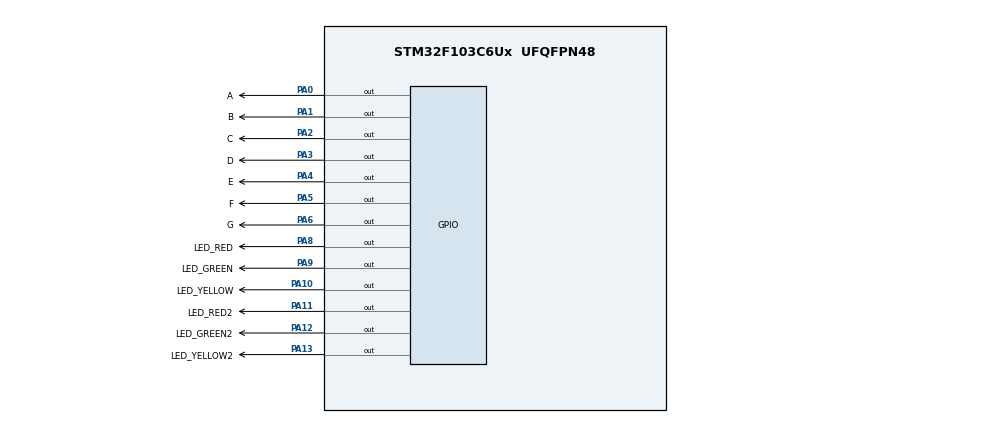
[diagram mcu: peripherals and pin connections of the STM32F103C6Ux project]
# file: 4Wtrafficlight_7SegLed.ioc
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Mcu.Family=STM32F1
Mcu.Name=STM32F103C6Ux
Mcu.Package=UFQFPN48
NVIC.PriorityGroup=NVIC_PRIORITYGROUP_4
PA0-WKUP.GPIO_Label=A
PA0-WKUP.Signal=GPIO_Output
PA1.GPIO_Label=B
PA1.Signal=GPIO_Output
PA10.GPIO_Label=LED_YELLOW
PA10.Signal=GPIO_Output
PA11.GPIO_Label=LED_RED2
PA11.Signal=GPIO_Output
PA12.GPIO_Label=LED_GREEN2
PA12.Signal=GPIO_Output
PA13.GPIO_Label=LED_YELLOW2
PA13.Signal=GPIO_Output
PA2.GPIO_Label=C
PA2.Signal=GPIO_Output
PA3.GPIO_Label=D
PA3.Signal=GPIO_Output
PA4.GPIO_Label=E
PA4.Signal=GPIO_Output
PA5.GPIO_Label=F
PA5.Signal=GPIO_Output
PA6.GPIO_Label=G
PA6.Signal=GPIO_Output
PA8.GPIO_Label=LED_RED
PA8.Signal=GPIO_Output
PA9.GPIO_Label=LED_GREEN
PA9.Signal=GPIO_Output
ProjectManager.HeapSize=0x200
ProjectManager.StackSize=0x400
ProjectManager.TargetToolchain=STM32CubeIDE
RCC.APB1Freq_Value=8000000
RCC.APB2Freq_Value=8000000
VP_SYS_VS_ND.Mode=No_Debug
board=custom

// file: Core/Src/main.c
/* USER CODE BEGIN Header */
/**
  ******************************************************************************
  * @file           : main.c
  * @brief          : Main program body
  ******************************************************************************
  * @attention
  *
  * <h2><center>&copy; Copyright (c) 2022 STMicroelectronics.
  * All rights reserved.</center></h2>
  *
  * This software component is licensed by ST under BSD 3-Clause license,
  * the "License"; You may not use this file except in compliance with the
  * License. You may obtain a copy of the License at:
  *                        opensource.org/licenses/BSD-3-Clause
  *
  ******************************************************************************
  */
/* USER CODE END Header */
#include "main.h"

void SystemClock_Config(void);
static void MX_GPIO_Init(void);

/* USER CODE BEGIN 0 */
void display7SEG(int num){
  	  HAL_GPIO_WritePin(GPIOA, A_Pin|B_Pin|C_Pin|D_Pin|E_Pin|F_Pin|G_Pin, SET);

  	  switch (num) {
  		case 0:
  			HAL_GPIO_WritePin(GPIOA, A_Pin|B_Pin|C_Pin|D_Pin|E_Pin|F_Pin, RESET);
  			break;
  		case 1:
  			HAL_GPIO_WritePin(GPIOA, B_Pin|C_Pin, RESET);
  			break;
  		case 2:
  			HAL_GPIO_WritePin(GPIOA, A_Pin|B_Pin|D_Pin|E_Pin|G_Pin, RESET);
  			break;
  		case 3:
  			HAL_GPIO_WritePin(GPIOA, A_Pin|B_Pin|C_Pin|D_Pin|G_Pin, RESET);
  			break;

  		case 4:
  			HAL_GPIO_WritePin(GPIOA, B_Pin|C_Pin|F_Pin|G_Pin, RESET);
  			break;
  		case 5:
  			HAL_GPIO_WritePin(GPIOA, A_Pin|C_Pin|D_Pin|F_Pin|G_Pin, RESET);
  			break;
  		case 6:
  			HAL_GPIO_WritePin(GPIOA, A_Pin|C_Pin|D_Pin|E_Pin|F_Pin|G_Pin, RESET);
  			break;
  		case 7:
  			HAL_GPIO_WritePin(GPIOA, A_Pin|B_Pin|C_Pin, RESET);
  			break;
  		case 8:
  			HAL_GPIO_WritePin(GPIOA, A_Pin|B_Pin|C_Pin|D_Pin|E_Pin|F_Pin|G_Pin, RESET);
  			break;
  		case 9:
  			HAL_GPIO_WritePin(GPIOA, A_Pin|B_Pin|C_Pin|D_Pin|F_Pin|G_Pin, RESET);
  			break;
  	 }
   }
/* USER CODE END 0 */

int main(void)
{

  /* MCU Configuration--------------------------------------------------------*/

  /* Reset of all peripherals, Initializes the Flash interface and the Systick. */
  HAL_Init();

  /* Configure the system clock */
  SystemClock_Config();

  /* Initialize all configured peripherals */
  MX_GPIO_Init();

  /* Infinite loop */
  /* USER CODE BEGIN WHILE */
  int count = 9;
  while (1)
  {
	  if(count < 0) count = 9;
	  if(count == 9)
	  {
		  HAL_GPIO_WritePin(LED_RED_GPIO_Port, LED_RED_Pin, SET);
		  HAL_GPIO_WritePin(LED_YELLOW_GPIO_Port, LED_YELLOW_Pin, RESET);
		  HAL_GPIO_WritePin(LED_GREEN2_GPIO_Port, LED_GREEN2_Pin, SET);
		  HAL_GPIO_WritePin(LED_RED2_GPIO_Port, LED_RED2_Pin, RESET);
	  }

	  if(count == 6)
	  {
		  HAL_GPIO_TogglePin(LED_GREEN2_GPIO_Port, LED_GREEN2_Pin);
		  HAL_GPIO_TogglePin(LED_YELLOW2_GPIO_Port, LED_YELLOW2_Pin);
	  }

	  if(count == 4)
	  {
		  HAL_GPIO_TogglePin(LED_RED_GPIO_Port, LED_RED_Pin);
		  HAL_GPIO_TogglePin(LED_GREEN_GPIO_Port, LED_GREEN_Pin);
		  HAL_GPIO_TogglePin(LED_YELLOW2_GPIO_Port, LED_YELLOW2_Pin);
		  HAL_GPIO_TogglePin(LED_RED2_GPIO_Port, LED_RED2_Pin);
	  }
	  if(count == 1)
	  {
		  HAL_GPIO_TogglePin(LED_GREEN_GPIO_Port, LED_GREEN_Pin);
		  HAL_GPIO_TogglePin(LED_YELLOW_GPIO_Port, LED_YELLOW_Pin);
	  }

	  display7SEG(count--);

	  HAL_Delay(1000);

    /* USER CODE END WHILE */

  }
}

void SystemClock_Config(void)
{
  RCC_OscInitTypeDef RCC_OscInitStruct = {0};
  RCC_ClkInitTypeDef RCC_ClkInitStruct = {0};

  /** Initializes the RCC Oscillators according to the specified parameters
  * in the RCC_OscInitTypeDef structure.
  */
  RCC_OscInitStruct.OscillatorType = RCC_OSCILLATORTYPE_HSI;
  RCC_OscInitStruct.HSIState = RCC_HSI_ON;
  RCC_OscInitStruct.HSICalibrationValue = RCC_HSICALIBRATION_DEFAULT;
  RCC_OscInitStruct.PLL.PLLState = RCC_PLL_NONE;
  if (HAL_RCC_OscConfig(&RCC_OscInitStruct) != HAL_OK)
  {
    Error_Handler();
  }
  /** Initializes the CPU, AHB and APB buses clocks
  */
  RCC_ClkInitStruct.ClockType = RCC_CLOCKTYPE_HCLK|RCC_CLOCKTYPE_SYSCLK
                              |RCC_CLOCKTYPE_PCLK1|RCC_CLOCKTYPE_PCLK2;
  RCC_ClkInitStruct.SYSCLKSource = RCC_SYSCLKSOURCE_HSI;
  RCC_ClkInitStruct.AHBCLKDivider = RCC_SYSCLK_DIV1;
  RCC_ClkInitStruct.APB1CLKDivider = RCC_HCLK_DIV1;
  RCC_ClkInitStruct.APB2CLKDivider = RCC_HCLK_DIV1;

  if (HAL_RCC_ClockConfig(&RCC_ClkInitStruct, FLASH_LATENCY_0) != HAL_OK)
  {
    Error_Handler();
  }
}

static void MX_GPIO_Init(void)
{
  GPIO_InitTypeDef GPIO_InitStruct = {0};

  /* GPIO Ports Clock Enable */
  __HAL_RCC_GPIOA_CLK_ENABLE();

  /*Configure GPIO pin Output Level */
  HAL_GPIO_WritePin(GPIOA, A_Pin|B_Pin|C_Pin|D_Pin
                          |E_Pin|F_Pin|G_Pin|LED_RED_Pin
                          |LED_GREEN_Pin|LED_YELLOW_Pin|LED_RED2_Pin|LED_GREEN2_Pin
                          |LED_YELLOW2_Pin, GPIO_PIN_RESET);

  /*Configure GPIO pins : A_Pin B_Pin C_Pin D_Pin
                           E_Pin F_Pin G_Pin LED_RED_Pin
                           LED_GREEN_Pin LED_YELLOW_Pin LED_RED2_Pin LED_GREEN2_Pin
                           LED_YELLOW2_Pin */
  GPIO_InitStruct.Pin = A_Pin|B_Pin|C_Pin|D_Pin
                          |E_Pin|F_Pin|G_Pin|LED_RED_Pin
                          |LED_GREEN_Pin|LED_YELLOW_Pin|LED_RED2_Pin|LED_GREEN2_Pin
                          |LED_YELLOW2_Pin;
  GPIO_InitStruct.Mode = GPIO_MODE_OUTPUT_PP;
  GPIO_InitStruct.Pull = GPIO_NOPULL;
  GPIO_InitStruct.Speed = GPIO_SPEED_FREQ_LOW;
  HAL_GPIO_Init(GPIOA, &GPIO_InitStruct);

}

void Error_Handler(void)
{
  __disable_irq();
  while (1)
  {
  }
}

/************************ (C) COPYRIGHT STMicroelectronics *****END OF FILE****/
